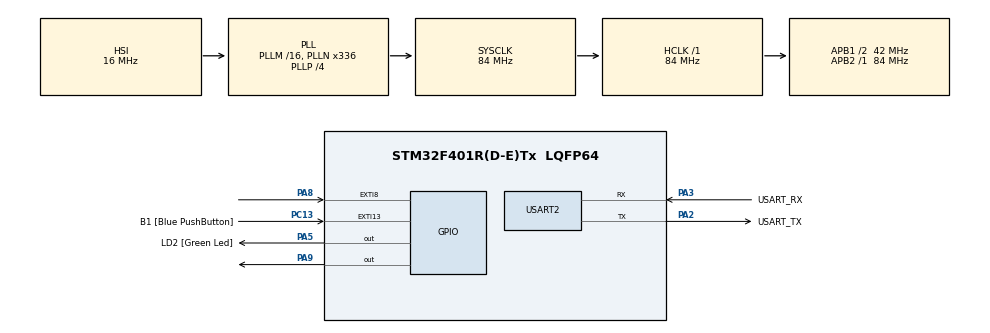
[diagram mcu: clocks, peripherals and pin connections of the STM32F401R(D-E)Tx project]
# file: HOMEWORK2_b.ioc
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Mcu.Family=STM32F4
Mcu.Name=STM32F401R(D-E)Tx
Mcu.Package=LQFP64
NVIC.EXTI9_5_IRQn=true\:0\:0\:false\:false\:true\:true\:true\:true
NVIC.PriorityGroup=NVIC_PRIORITYGROUP_0
NVIC.TIM3_IRQn=true\:0\:0\:false\:false\:true\:true\:true\:true
PA13.GPIO_Label=TMS
PA13.Mode=Serial_Wire
PA13.Signal=SYS_JTMS-SWDIO
PA14.GPIO_Label=TCK
PA14.Mode=Serial_Wire
PA14.Signal=SYS_JTCK-SWCLK
PA2.GPIO_Label=USART_TX
PA2.GPIO_Mode=GPIO_MODE_AF_PP
PA2.GPIO_PuPd=GPIO_NOPULL
PA2.GPIO_Speed=GPIO_SPEED_FREQ_LOW
PA2.Mode=Asynchronous
PA2.Signal=USART2_TX
PA3.GPIO_Label=USART_RX
PA3.GPIO_Mode=GPIO_MODE_AF_PP
PA3.GPIO_PuPd=GPIO_NOPULL
PA3.GPIO_Speed=GPIO_SPEED_FREQ_LOW
PA3.Mode=Asynchronous
PA3.Signal=USART2_RX
PA5.GPIO_Label=LD2 [Green Led]
PA5.GPIO_Mode=GPIO_MODE_OUTPUT_PP
PA5.GPIO_PuPd=GPIO_NOPULL
PA5.GPIO_Speed=GPIO_SPEED_FREQ_LOW
PA5.Signal=GPIO_Output
PA8.GPIO_ModeDefaultEXTI=GPIO_MODE_IT_RISING
PA8.Signal=GPXTI8
PA9.Signal=GPIO_Output
PB3.GPIO_Label=SWO
PB3.Signal=SYS_JTDO-SWO
PC13-ANTI_TAMP.GPIO_Label=B1 [Blue PushButton]
PC13-ANTI_TAMP.GPIO_ModeDefaultEXTI=GPIO_MODE_IT_FALLING
PC13-ANTI_TAMP.GPIO_PuPd=GPIO_NOPULL
PC13-ANTI_TAMP.Signal=GPXTI13
PC14-OSC32_IN.Mode=LSE-External-Oscillator
PC14-OSC32_IN.Signal=RCC_OSC32_IN
PC15-OSC32_OUT.Mode=LSE-External-Oscillator
PC15-OSC32_OUT.Signal=RCC_OSC32_OUT
PH0\ -\ OSC_IN.Mode=HSE-External-Clock-Source
PH0\ -\ OSC_IN.Signal=RCC_OSC_IN
PH1\ -\ OSC_OUT.Mode=HSE-External-Clock-Source
PH1\ -\ OSC_OUT.Signal=RCC_OSC_OUT
ProjectManager.HeapSize=0x200
ProjectManager.StackSize=0x400
ProjectManager.TargetToolchain=STM32CubeIDE
RCC.48MHZClocksFreq_Value=48000000
RCC.AHBFreq_Value=84000000
RCC.APB1CLKDivider=RCC_HCLK_DIV2
RCC.APB1Freq_Value=42000000
RCC.APB1TimFreq_Value=84000000
RCC.APB2Freq_Value=84000000
RCC.APB2TimFreq_Value=84000000
RCC.CortexFreq_Value=84000000
RCC.HCLKFreq_Value=84000000
RCC.HSE_VALUE=8000000
RCC.HSI_VALUE=16000000
RCC.PLLN=336
RCC.PLLP=RCC_PLLP_DIV4
RCC.PLLQ=7
RCC.SYSCLKFreq_VALUE=84000000
RCC.SYSCLKSource=RCC_SYSCLKSOURCE_PLLCLK
RCC.VCOOutputFreq_Value=336000000
TIM3.AutoReloadPreload=TIM_AUTORELOAD_PRELOAD_ENABLE
USART2.VirtualMode=VM_ASYNC
VP_TIM3_VS_ClockSourceINT.Mode=Internal
board=NUCLEO-F401RE

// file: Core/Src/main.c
/* USER CODE BEGIN Header */
/**
  ******************************************************************************
  * @file           : main.c
  * @brief          : Main program body
  ******************************************************************************
  * @attention
  *
  * Copyright (c) 2023 STMicroelectronics.
  * All rights reserved.
  *
  * This software is licensed under terms that can be found in the LICENSE file
  * in the root directory of this software component.
  * If no LICENSE file comes with this software, it is provided AS-IS.
  *
  ******************************************************************************
  */
/* USER CODE END Header */
#include "main.h"

/* USER CODE BEGIN PTD */
struct note{
	int tone;
	int duration;
};

/* USER CODE END PTD */

/* USER CODE BEGIN PD */
#define F_OSC 84000000

#define TEMPO 0.075
#define SOL 2141
#define LA 1908
#define FA 2405
#define MI 2544
#define RE 2856
#define DO 3205

/* USER CODE END PD */

TIM_HandleTypeDef htim3;

UART_HandleTypeDef huart2;

/* USER CODE BEGIN PV */
long int t=0;
int snapFinger=0;

struct note score[] = {
			{SOL,6},
			{LA,2},
			{SOL,4},
			{FA,4},
			{MI,4},
			{FA,4},
			{SOL,8},
			{RE,4},
			{MI,4},
			{FA,8},
			{MI,4},
			{FA,4},
			{SOL,8},
			{SOL,6},
			{LA,2},
			{SOL,4},
			{FA,4},
			{MI,4},
			{FA,4},
			{SOL,8},
			{RE,8},
			{SOL,8},
			{MI,4},
			{DO,8}
		};

/* USER CODE END PV */

void SystemClock_Config(void);
static void MX_GPIO_Init(void);
static void MX_USART2_UART_Init(void);
static void MX_TIM3_Init(void);

/* USER CODE BEGIN 0 */

void playnote(struct note note_playing){
	// copied by declaration of MX_TIM1_Init

	  TIM_ClockConfigTypeDef sClockSourceConfig = {0};
	  TIM_MasterConfigTypeDef sMasterConfig = {0};
	  TIM_OC_InitTypeDef sConfigOC = {0};
	  TIM_BreakDeadTimeConfigTypeDef sBreakDeadTimeConfig = {0};

	  /* USER CODE BEGIN TIM1_Init 1 */

	  /* USER CODE END TIM1_Init 1 */
	  htim3.Instance = TIM3;
	  htim3.Init.Prescaler = 99;
	  htim3.Init.CounterMode = TIM_COUNTERMODE_UP;
	  htim3.Init.Period = note_playing.tone/2;
	  htim3.Init.ClockDivision = TIM_CLOCKDIVISION_DIV1;
	  htim3.Init.AutoReloadPreload = TIM_AUTORELOAD_PRELOAD_DISABLE;
	  if (HAL_TIM_Base_Init(&htim3) != HAL_OK)
	  {
		  Error_Handler();
	  }
}

void playsong(){
	int length=sizeof(score)/sizeof(score[0]);
	t=0;
	for(int i=0; i<length;i++){
		playnote(score[i]);
		while(t<((TEMPO*score[i].duration)*(F_OSC/((1+score[i].tone/2)*(100)))));
		t=0;
	}

	HAL_TIM_Base_Stop_IT(&htim3);

}

void HAL_GPIO_EXTI_Callback(uint16_t GPIO_Pin)
{
  switch (GPIO_Pin){
  case GPIO_PIN_8:
	  snapFinger=1;
	  break;
  default:
	  break;
  }
}

/* USER CODE END 0 */

int main(void)
{

  /* MCU Configuration--------------------------------------------------------*/

  /* Reset of all peripherals, Initializes the Flash interface and the Systick. */
  HAL_Init();

  /* Configure the system clock */
  SystemClock_Config();

  /* Initialize all configured peripherals */
  MX_GPIO_Init();
  MX_USART2_UART_Init();
  MX_TIM3_Init();

  /* Infinite loop */
  /* USER CODE BEGIN WHILE */
  while (1)
  {
	  if(snapFinger){
		  HAL_TIM_Base_Start_IT(&htim3);
		  playsong();
		  snapFinger=0;
	  }

    /* USER CODE END WHILE */

  }
}

void SystemClock_Config(void)
{
  RCC_OscInitTypeDef RCC_OscInitStruct = {0};
  RCC_ClkInitTypeDef RCC_ClkInitStruct = {0};

  /** Configure the main internal regulator output voltage
  */
  __HAL_RCC_PWR_CLK_ENABLE();
  __HAL_PWR_VOLTAGESCALING_CONFIG(PWR_REGULATOR_VOLTAGE_SCALE2);

  /** Initializes the RCC Oscillators according to the specified parameters
  * in the RCC_OscInitTypeDef structure.
  */
  RCC_OscInitStruct.OscillatorType = RCC_OSCILLATORTYPE_HSI;
  RCC_OscInitStruct.HSIState = RCC_HSI_ON;
  RCC_OscInitStruct.HSICalibrationValue = RCC_HSICALIBRATION_DEFAULT;
  RCC_OscInitStruct.PLL.PLLState = RCC_PLL_ON;
  RCC_OscInitStruct.PLL.PLLSource = RCC_PLLSOURCE_HSI;
  RCC_OscInitStruct.PLL.PLLM = 16;
  RCC_OscInitStruct.PLL.PLLN = 336;
  RCC_OscInitStruct.PLL.PLLP = RCC_PLLP_DIV4;
  RCC_OscInitStruct.PLL.PLLQ = 7;
  if (HAL_RCC_OscConfig(&RCC_OscInitStruct) != HAL_OK)
  {
    Error_Handler();
  }

  /** Initializes the CPU, AHB and APB buses clocks
  */
  RCC_ClkInitStruct.ClockType = RCC_CLOCKTYPE_HCLK|RCC_CLOCKTYPE_SYSCLK
                              |RCC_CLOCKTYPE_PCLK1|RCC_CLOCKTYPE_PCLK2;
  RCC_ClkInitStruct.SYSCLKSource = RCC_SYSCLKSOURCE_PLLCLK;
  RCC_ClkInitStruct.AHBCLKDivider = RCC_SYSCLK_DIV1;
  RCC_ClkInitStruct.APB1CLKDivider = RCC_HCLK_DIV2;
  RCC_ClkInitStruct.APB2CLKDivider = RCC_HCLK_DIV1;

  if (HAL_RCC_ClockConfig(&RCC_ClkInitStruct, FLASH_LATENCY_2) != HAL_OK)
  {
    Error_Handler();
  }
}

static void MX_TIM3_Init(void)
{

  TIM_ClockConfigTypeDef sClockSourceConfig = {0};
  TIM_MasterConfigTypeDef sMasterConfig = {0};

  htim3.Instance = TIM3;
  htim3.Init.Prescaler = 0;
  htim3.Init.CounterMode = TIM_COUNTERMODE_UP;
  htim3.Init.Period = 65535;
  htim3.Init.ClockDivision = TIM_CLOCKDIVISION_DIV1;
  htim3.Init.AutoReloadPreload = TIM_AUTORELOAD_PRELOAD_ENABLE;
  if (HAL_TIM_Base_Init(&htim3) != HAL_OK)
  {
    Error_Handler();
  }
  sClockSourceConfig.ClockSource = TIM_CLOCKSOURCE_INTERNAL;
  if (HAL_TIM_ConfigClockSource(&htim3, &sClockSourceConfig) != HAL_OK)
  {
    Error_Handler();
  }
  sMasterConfig.MasterOutputTrigger = TIM_TRGO_RESET;
  sMasterConfig.MasterSlaveMode = TIM_MASTERSLAVEMODE_DISABLE;
  if (HAL_TIMEx_MasterConfigSynchronization(&htim3, &sMasterConfig) != HAL_OK)
  {
    Error_Handler();
  }

}

static void MX_USART2_UART_Init(void)
{

  huart2.Instance = USART2;
  huart2.Init.BaudRate = 115200;
  huart2.Init.WordLength = UART_WORDLENGTH_8B;
  huart2.Init.StopBits = UART_STOPBITS_1;
  huart2.Init.Parity = UART_PARITY_NONE;
  huart2.Init.Mode = UART_MODE_TX_RX;
  huart2.Init.HwFlowCtl = UART_HWCONTROL_NONE;
  huart2.Init.OverSampling = UART_OVERSAMPLING_16;
  if (HAL_UART_Init(&huart2) != HAL_OK)
  {
    Error_Handler();
  }

}

static void MX_GPIO_Init(void)
{
  GPIO_InitTypeDef GPIO_InitStruct = {0};

  /* GPIO Ports Clock Enable */
  __HAL_RCC_GPIOC_CLK_ENABLE();
  __HAL_RCC_GPIOH_CLK_ENABLE();
  __HAL_RCC_GPIOA_CLK_ENABLE();
  __HAL_RCC_GPIOB_CLK_ENABLE();

  /*Configure GPIO pin Output Level */
  HAL_GPIO_WritePin(GPIOA, LD2_Pin|GPIO_PIN_9, GPIO_PIN_RESET);

  /*Configure GPIO pin : B1_Pin */
  GPIO_InitStruct.Pin = B1_Pin;
  GPIO_InitStruct.Mode = GPIO_MODE_IT_FALLING;
  GPIO_InitStruct.Pull = GPIO_NOPULL;
  HAL_GPIO_Init(B1_GPIO_Port, &GPIO_InitStruct);

  /*Configure GPIO pins : LD2_Pin PA9 */
  GPIO_InitStruct.Pin = LD2_Pin|GPIO_PIN_9;
  GPIO_InitStruct.Mode = GPIO_MODE_OUTPUT_PP;
  GPIO_InitStruct.Pull = GPIO_NOPULL;
  GPIO_InitStruct.Speed = GPIO_SPEED_FREQ_LOW;
  HAL_GPIO_Init(GPIOA, &GPIO_InitStruct);

  /*Configure GPIO pin : PA8 */
  GPIO_InitStruct.Pin = GPIO_PIN_8;
  GPIO_InitStruct.Mode = GPIO_MODE_IT_RISING;
  GPIO_InitStruct.Pull = GPIO_NOPULL;
  HAL_GPIO_Init(GPIOA, &GPIO_InitStruct);

  /* EXTI interrupt init*/
  HAL_NVIC_SetPriority(EXTI9_5_IRQn, 0, 0);
  HAL_NVIC_EnableIRQ(EXTI9_5_IRQn);

}

void Error_Handler(void)
{
  __disable_irq();
  while (1)
  {
  }
}
